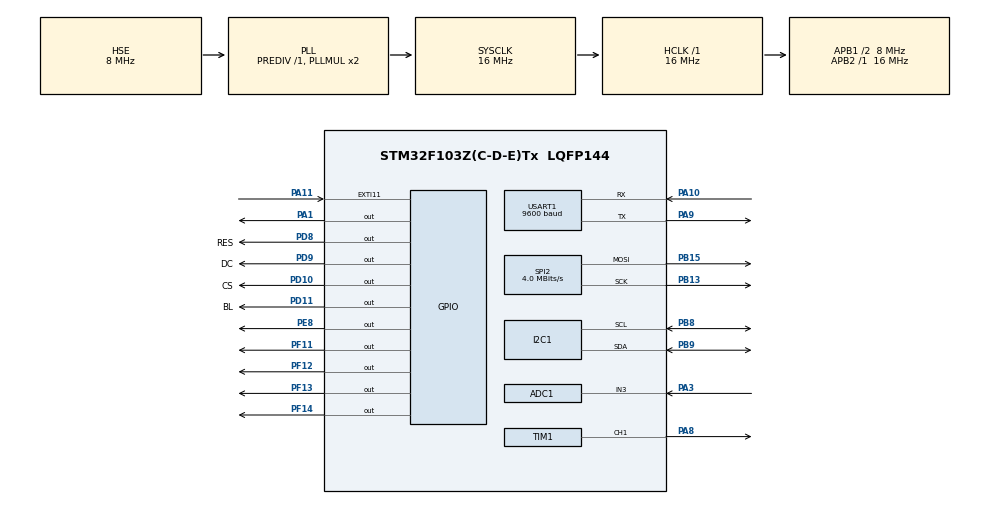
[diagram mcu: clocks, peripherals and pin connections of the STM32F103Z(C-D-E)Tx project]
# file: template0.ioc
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ADC1.Channel-1\#ChannelRegularConversion=ADC_CHANNEL_3
ADC1.NbrOfConversion=1
ADC1.NbrOfConversionFlag=1
ADC1.Rank-1\#ChannelRegularConversion=1
ADC1.SamplingTime-1\#ChannelRegularConversion=ADC_SAMPLETIME_71CYCLES_5
ADC1.master=1
FREERTOS.Tasks01=defaultTask,24,128,StartDefaultTask,Default,NULL,Dynamic,NULL,NULL
Mcu.Family=STM32F1
Mcu.Name=STM32F103Z(C-D-E)Tx
Mcu.Package=LQFP144
NVIC.EXTI15_10_IRQn=true\:5\:0\:true\:false\:true\:true\:true\:true\:true
NVIC.PriorityGroup=NVIC_PRIORITYGROUP_4
NVIC.TIM1_BRK_IRQn=true\:5\:0\:false\:false\:true\:true\:true\:true\:true
NVIC.TIM1_CC_IRQn=true\:5\:0\:false\:false\:true\:true\:true\:true\:true
NVIC.TIM1_TRG_COM_IRQn=true\:5\:0\:false\:false\:true\:true\:true\:true\:true
NVIC.TIM1_UP_IRQn=true\:5\:0\:false\:false\:true\:true\:true\:true\:true
NVIC.TIM4_IRQn=true\:0\:0\:true\:false\:true\:false\:false\:true\:true
NVIC.TimeBase=TIM4_IRQn
NVIC.TimeBaseIP=TIM4
NVIC.USART1_IRQn=true\:5\:0\:false\:false\:true\:true\:true\:true\:true
OSC_IN.Mode=HSE-External-Oscillator
OSC_IN.Signal=RCC_OSC_IN
OSC_OUT.Mode=HSE-External-Oscillator
OSC_OUT.Signal=RCC_OSC_OUT
PA1.GPIO_ModeDefaultOutputPP=GPIO_MODE_OUTPUT_OD
PA1.GPIO_PuPd=GPIO_PULLUP
PA1.Signal=GPIO_Output
PA10.Mode=Asynchronous
PA10.Signal=USART1_RX
PA11.GPIO_ModeDefaultEXTI=GPIO_MODE_IT_RISING_FALLING
PA11.GPIO_PuPd=GPIO_PULLUP
PA11.Signal=GPXTI11
PA13.Mode=Serial_Wire
PA13.Signal=SYS_JTMS-SWDIO
PA14.Mode=Serial_Wire
PA14.Signal=SYS_JTCK-SWCLK
PA3.Signal=ADCx_IN3
PA8.Signal=S_TIM1_CH1
PA9.Mode=Asynchronous
PA9.Signal=USART1_TX
PB13.Mode=TX_Only_Simplex_Unidirect_Master
PB13.Signal=SPI2_SCK
PB15.Mode=TX_Only_Simplex_Unidirect_Master
PB15.Signal=SPI2_MOSI
PB8.Mode=I2C
PB8.Signal=I2C1_SCL
PB9.Mode=I2C
PB9.Signal=I2C1_SDA
PD10.GPIO_Label=CS
PD10.GPIO_Speed=GPIO_SPEED_FREQ_HIGH
PD10.Signal=GPIO_Output
PD11.GPIO_Label=BL
PD11.GPIO_Speed=GPIO_SPEED_FREQ_HIGH
PD11.Signal=GPIO_Output
PD8.GPIO_Label=RES
PD8.GPIO_Speed=GPIO_SPEED_FREQ_HIGH
PD8.Signal=GPIO_Output
PD9.GPIO_Label=DC
PD9.GPIO_Speed=GPIO_SPEED_FREQ_HIGH
PD9.Signal=GPIO_Output
PE8.Signal=GPIO_Output
PF11.Signal=GPIO_Output
PF12.Signal=GPIO_Output
PF13.Signal=GPIO_Output
PF14.Signal=GPIO_Output
ProjectManager.HeapSize=0x200
ProjectManager.StackSize=0x400
ProjectManager.TargetToolchain=MDK-ARM V5.32
RCC.AHBFreq_Value=16000000
RCC.APB1CLKDivider=RCC_HCLK_DIV2
RCC.APB1Freq_Value=8000000
RCC.APB1TimFreq_Value=16000000
RCC.APB2Freq_Value=16000000
RCC.APB2TimFreq_Value=16000000
RCC.HCLKFreq_Value=16000000
RCC.PLLSourceVirtual=RCC_PLLSOURCE_HSE
RCC.SYSCLKFreq_VALUE=16000000
RCC.SYSCLKSource=RCC_SYSCLKSOURCE_PLLCLK
RCC.USBFreq_Value=16000000
SH.ADCx_IN3.0=ADC1_IN3,IN3
SH.S_TIM1_CH1.0=TIM1_CH1,PWM Generation1 CH1
SPI2.CalculateBaudRate=4.0 MBits/s
SPI2.Direction=SPI_DIRECTION_2LINES
SPI2.Mode=SPI_MODE_MASTER
SPI2.VirtualType=VM_MASTER
TIM1.Channel-PWM\ Generation1\ CH1=TIM_CHANNEL_1
TIM1.Period=9999
TIM1.Prescaler=71
USART1.BaudRate=9600
USART1.VirtualMode=VM_ASYNC
VP_FREERTOS_VS_CMSIS_V2.Mode=CMSIS_V2
VP_SYS_VS_tim4.Mode=TIM4
board=custom

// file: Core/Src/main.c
/* USER CODE BEGIN Header */
/**
  ******************************************************************************
  * @file           : main.c
  * @brief          : Main program body
  ******************************************************************************
  * @attention
  *
  * Copyright (c) 2024 STMicroelectronics.
  * All rights reserved.
  *
  * This software is licensed under terms that can be found in the LICENSE file
  * in the root directory of this software component.
  * If no LICENSE file comes with this software, it is provided AS-IS.
  *
  ******************************************************************************
  */
/* USER CODE END Header */
#include "main.h"
#include "cmsis_os.h"
#include "adc.h"
#include "i2c.h"
#include "spi.h"
#include "tim.h"
#include "usart.h"
#include "gpio.h"

void SystemClock_Config(void);
void MX_FREERTOS_Init(void);

int main(void)
{

  /* MCU Configuration--------------------------------------------------------*/

  /* Reset of all peripherals, Initializes the Flash interface and the Systick. */
  HAL_Init();

  /* Configure the system clock */
  SystemClock_Config();

  /* Initialize all configured peripherals */
  MX_GPIO_Init();
  MX_I2C1_Init();
  MX_TIM1_Init();
  MX_USART1_UART_Init();
  MX_ADC1_Init();
  MX_SPI2_Init();
  /* USER CODE BEGIN 2 */
//  HAL_TIM_Base_Start_IT(&htim1);//定时器更新产生中断
//  HAL_TIM_IC_Start_IT(&htim1,TIM_CHANNEL_1);
  /* USER CODE END 2 */

  /* Init scheduler */
  osKernelInitialize();

  /* Call init function for freertos objects (in cmsis_os2.c) */
  MX_FREERTOS_Init();

  /* Start scheduler */
  osKernelStart();

  /* We should never get here as control is now taken by the scheduler */

  /* Infinite loop */
  while (1)
  {

  }
}

void SystemClock_Config(void)
{
  RCC_OscInitTypeDef RCC_OscInitStruct = {0};
  RCC_ClkInitTypeDef RCC_ClkInitStruct = {0};
  RCC_PeriphCLKInitTypeDef PeriphClkInit = {0};

  /** Initializes the RCC Oscillators according to the specified parameters
  * in the RCC_OscInitTypeDef structure.
  */
  RCC_OscInitStruct.OscillatorType = RCC_OSCILLATORTYPE_HSE;
  RCC_OscInitStruct.HSEState = RCC_HSE_ON;
  RCC_OscInitStruct.HSEPredivValue = RCC_HSE_PREDIV_DIV1;
  RCC_OscInitStruct.HSIState = RCC_HSI_ON;
  RCC_OscInitStruct.PLL.PLLState = RCC_PLL_ON;
  RCC_OscInitStruct.PLL.PLLSource = RCC_PLLSOURCE_HSE;
  RCC_OscInitStruct.PLL.PLLMUL = RCC_PLL_MUL2;
  if (HAL_RCC_OscConfig(&RCC_OscInitStruct) != HAL_OK)
  {
    Error_Handler();
  }

  /** Initializes the CPU, AHB and APB buses clocks
  */
  RCC_ClkInitStruct.ClockType = RCC_CLOCKTYPE_HCLK|RCC_CLOCKTYPE_SYSCLK
                              |RCC_CLOCKTYPE_PCLK1|RCC_CLOCKTYPE_PCLK2;
  RCC_ClkInitStruct.SYSCLKSource = RCC_SYSCLKSOURCE_PLLCLK;
  RCC_ClkInitStruct.AHBCLKDivider = RCC_SYSCLK_DIV1;
  RCC_ClkInitStruct.APB1CLKDivider = RCC_HCLK_DIV2;
  RCC_ClkInitStruct.APB2CLKDivider = RCC_HCLK_DIV1;

  if (HAL_RCC_ClockConfig(&RCC_ClkInitStruct, FLASH_LATENCY_0) != HAL_OK)
  {
    Error_Handler();
  }
  PeriphClkInit.PeriphClockSelection = RCC_PERIPHCLK_ADC;
  PeriphClkInit.AdcClockSelection = RCC_ADCPCLK2_DIV2;
  if (HAL_RCCEx_PeriphCLKConfig(&PeriphClkInit) != HAL_OK)
  {
    Error_Handler();
  }
}

void HAL_TIM_PeriodElapsedCallback(TIM_HandleTypeDef *htim)
{
  if (htim->Instance == TIM4) {
    HAL_IncTick();
  }
}

void Error_Handler(void)
{
  __disable_irq();
  while (1)
  {
  }
}

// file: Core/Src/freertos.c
/* USER CODE BEGIN Header */
/**
  ******************************************************************************
  * File Name          : freertos.c
  * Description        : Code for freertos applications
  ******************************************************************************
  * @attention
  *
  * Copyright (c) 2024 STMicroelectronics.
  * All rights reserved.
  *
  * This software is licensed under terms that can be found in the LICENSE file
  * in the root directory of this software component.
  * If no LICENSE file comes with this software, it is provided AS-IS.
  *
  ******************************************************************************
  */
/* USER CODE END Header */

#include "FreeRTOS.h"
#include "task.h"
#include "main.h"
#include "cmsis_os.h"

/* USER CODE BEGIN Includes */
//------------freertos------------
#include "cmsis_os.h"
#include "FreeRTOS.h"                   // ARM.FreeRTOS::RTOS:Core
#include "task.h"                       // ARM.FreeRTOS::RTOS:Core
#include "event_groups.h"               // ARM.FreeRTOS::RTOS:Event Groups
#include "semphr.h"                     // ARM.FreeRTOS::RTOS:Core
//------------private(hardware)------------
#include "driver_timer.h"
#include "driver_lcd.h"
#include "driver_led.h"
#include "sg90.h"
#include "music.h"
#include "blue_tooth.h"
#include "driver_ir_receiver.h"
#include "driver_ir_sender.h"
#include "driver_passive_buzzer.h"
#include "driver_dht11.h"
#include "driver_light_sensor.h"
#include "spi_lcd_test.h"
#include "lcd_spi.h"
#include "lcd.h"
#include "u8g2_test.h"
#include "stm32_u8g2.h"
#include "gui.h"
//------------private(game)------------
#include "game1.h"
#include "english.h"
#include "resources.h"
#include "draw.h"
/* USER CODE END Includes */

/* USER CODE BEGIN Variables */
//---------------------------------------------
// ---------------- Variables ----------------
//extern uint8_t rx_buf[2];
//extern uint8_t Bluetooth_data;
//static StackType_t g_pucStackOfLightTask[128*4];
//static StaticTask_t g_TCBofLightTask;
//static TaskHandle_t LightTask;
//static StackType_t g_pucStackOfLightTask2[128*4];
//static StaticTask_t g_TCBofLightTask2;
//static TaskHandle_t LightTask2;
//---------------------------------------------
//// ---------------- global queues ----------------
//static QueueHandle_t key_queue;
//static QueueHandle_t big_data_queue;
//// ---------------- queue set----------------
//static QueueSetHandle_t queue_set_handle;
//	static QueueHandle_t queue_set_1queue_handle;
//	static QueueHandle_t queue_set_2semphore_handle;
//// ---------------- semphore ----------------
//static QueueHandle_t semphore_handle;
//static QueueHandle_t count_semphore_handle;
//static QueueHandle_t mutex_semphore_handle;
//  //---------------- eventgroups init --------------------
//static EventGroupHandle_t eventgroup_handle;
//---------------------------------------------
//---------------------------------------------
//---------------------------------------------

/* USER CODE END Variables */
/* Definitions for defaultTask */
osThreadId_t defaultTaskHandle;
const osThreadAttr_t defaultTask_attributes = {
  .name = "defaultTask",
  .stack_size = 128 * 4,
  .priority = (osPriority_t) osPriorityNormal,
};

/* USER CODE BEGIN FunctionPrototypes */
// ---------------- task functions ----------------
void start_task_1(void *params);
void start_task_2(void *params);
void start_task_3(void *params);
void general_task(void *params);
void DHT11_task(void *params);
void LightSensor_task(void *params);

//// ---------------- LCD test function ----------------
//// same function for different tasks -experiment
//struct TaskInfo {
//	uint8_t x;
//	uint8_t y;
//	char name[16];
//};
//// ----------------global_params_for_tasks----------------
//static struct TaskInfo OledTask1 = {0,0,"SHIT_1"};
//static struct TaskInfo OledTask2 = {0,3,"SHIT_2"};
//static struct TaskInfo OledTask3 = {0,6,"SHIT_3"};
//static int g_LCD_CAN_USE = 1;
//void LCD_Print_Task(void *params)
//{
//	int len;
//	uint32_t cnt = 0;
//	struct TaskInfo *printInfo = params;
//	while(1)
//	{
//		if (g_LCD_CAN_USE)
//		{
//		g_LCD_CAN_USE = 0;
//		len = LCD_PrintString(printInfo->x,printInfo->y,printInfo->name);
//		len += LCD_PrintString(len,printInfo->y,":");
//		LCD_PrintSignedVal(len,printInfo->y,cnt++);
//		g_LCD_CAN_USE = 1;
//		}
//		mdelay(500);
//	}
//}

/* USER CODE END FunctionPrototypes */

void StartDefaultTask(void *argument);

void MX_FREERTOS_Init(void); /* (MISRA C 2004 rule 8.1) */

void MX_FREERTOS_Init(void) {
  /* USER CODE BEGIN Init */
	TaskHandle_t xSoundTaskhandle;
	TaskHandle_t start_task_1_handle;
	TaskHandle_t start_task_2_handle;
	TaskHandle_t start_task_3_handle;
	TaskHandle_t general_task_handle;
	LCD_Init();
	LCD_Clear();
	IRReceiver_Init();
	LCD_PrintString(0,0,"OK");
	spi_LCD_Init();

  /* USER CODE END Init */

  /* USER CODE BEGIN RTOS_QUEUES */
  /* add queues, ... */
  //---------------------------------------------
  //---------------- queue ---------------------
//  #define key_queue_length 2
//  #define key_queue_item_size sizeof(uint8_t)
//  key_queue = xQueueCreate(key_queue_length,key_queue_item_size);
//
//  #define big_data_queue_length 1
//  #define big_data_queue_item_size sizeof(char*)
//  big_data_queue = xQueueCreate(10,10);
  //---------------- queue set ---------------------
//  queue_set_handle = xQueueCreateSet(2);
//	queue_set_1queue_handle = xQueueCreate(1,sizeof(uint8_t));
//	queue_set_2semphore_handle = xSemaphoreCreateBinary();
//  xQueueAddToSet(queue_set_1queue_handle,queue_set_handle);
//  xQueueAddToSet(queue_set_2semphore_handle,queue_set_handle);
  //---------------- semphores --------------------
//  semphore_handle = xSemaphoreCreateBinary();
//  count_semphore_handle = xSemaphoreCreateCounting(100,0);
//  mutex_semphore_handle = xSemaphoreCreateMutex();
  //---------------- eventgroups init --------------------
//  eventgroup_handle = xEventGroupCreate();
  /* USER CODE END RTOS_QUEUES */

  /* Create the thread(s) */
  /* creation of defaultTask */
  defaultTaskHandle = osThreadNew(StartDefaultTask, NULL, &defaultTask_attributes);

  /* USER CODE BEGIN RTOS_THREADS */
  /* add threads, ... */

 // --------------------tasks--------------------

//   xTaskCreate(LightSensor_task, "test_Task", 128, NULL, osPriorityNormal, &general_task_handle);

// ----------------------------------------------------------------------------------------------
  /*------1-1 music or lcd------*/
//  xTaskCreate(game1_task, "GameTask", 128, NULL, osPriorityNormal, NULL);
//  xTaskCreate(play_music,"music",128,NULL,osPriorityAboveNormal,&xSoundTaskhandle);
//  xTaskCreate(LCD_Print_Test,"std",128,NULL,osPriorityAboveNormal,&xSoundTaskhandle);
  /*------1-2 LED F11------*/
//  LightTask = xTaskCreateStatic(Led_Test,"led",128,NULL,osPriorityAboveNormal,g_pucStackOfLightTask,&g_TCBofLightTask);
  /*------1-3 LED F12------*/
//  LightTask2 = xTaskCreateStatic(Led_Test_2,"led2",128,NULL,osPriorityAboveNormal,g_pucStackOfLightTask2,&g_TCBofLightTask2);
  /*------1-4 create different tasks using same function------*/
//	xTaskCreate(LCD_Print_Task,"oled_task3",128,&OledTask1,osPriorityAboveNormal,NULL);
//	xTaskCreate(LCD_Print_Task,"oled_task2",128,&OledTask2,osPriorityAboveNormal,NULL);
//	xTaskCreate(LCD_Print_Task,"oled_task3",128,&OledTask3,osPriorityAboveNormal,NULL);
// ----------------------------------------------------------------------------------------------

  /* USER CODE END RTOS_THREADS */

}

void StartDefaultTask(void *argument)
{
  /* USER CODE BEGIN StartDefaultTask */
  /* Infinite loop */

//	LightSensor_Test();

	while(1)
	{
	LCD_Fill(0,0,lcddev.width,lcddev.height,WHITE);
//	Show_Str(0,25,BLUE,YELLOW,"BL Test",16,1);
	Pic_test();
	vTaskDelay(1000);
	}

//  -------------------------------------------------------------------------
//  ----------------------demo3     DHT11      test--------------------------
//  -------------------------------------------------------------------------

//	int hum, temp;
//    int len;
//	char display_buf[12];
//	u8g2_t u8g2;
//
//	DHT11_Init();
//	u8g2Init(&u8g2);
//
//	while (1)
//	{
//		if (DHT11_Read(&hum, &temp) !=0 )
//		{
//			DHT11_Init();
//		}
//		else
//		{
//	   u8g2_DrawFrame(&u8g2,0,0,5,10);
//	   u8g2_DrawFrame(&u8g2,0,20,5,10);
//
//	   u8g2_SendBuffer(&u8g2);
//	   u8g2_SetFont(&u8g2,u8g2_font_DigitalDiscoThin_tf);
//	   sprintf((char*)display_buf,"temp:      %d",temp);
//	   u8g2_DrawStr(&u8g2,10,10,display_buf);
//
//	   u8g2_SetFont(&u8g2,u8g2_font_DigitalDiscoThin_tf);
//	   sprintf((char*)display_buf,"humidity:  %d%c",hum ,'%');
//	   u8g2_DrawStr(&u8g2,10,30,display_buf);
//	   u8g2_SendBuffer(&u8g2);

//		}
//		mdelay(2000);  /* 读取周期是2S, 不能读太频繁 */
//	}

//  -------------------------------------------------------------------------
//  ----------------------demo2-----------u8g2 test--------------------------
//  -------------------------------------------------------------------------
//    u8g2_t u8g2; // a structure which will contain all the data for one display
//    u8g2Init(&u8g2);
//	while(1)
//	{
//	   u8g2_SendBuffer(&u8g2);
////	   u8g2_DrawBox(&u8g2,0,0,20,20);
//	   u8g2_DrawCircle(&u8g2,30,30,10,0x15);
////	   u8g2_DrawBox(&u8g2,20,20,20,20);
//	   u8g2_SendBuffer(&u8g2);
//	   u8g2_DrawFrame(&u8g2,10,40,20,20);
//	   u8g2_SendBuffer(&u8g2);
//	   u8g2_SetFont(&u8g2,u8g2_font_DigitalDiscoThin_tf);
//	   u8g2_DrawStr(&u8g2,30,10,"Hello World");
//	   u8g2_SendBuffer(&u8g2);
//	   HAL_Delay(1000);
//	}

//  -------------------------------------------------------------------------
//  ----------------------demo 01用红外遥控控制音乐--------------------------
//  -------------------------------------------------------------------------
//  uint8_t dev, data;
//  int len;
//	int bRunning;
//
//	TaskHandle_t xSoundTaskHandle = NULL;
//	BaseType_t ret;
//
//	LCD_Init();
//	LCD_Clear();

//
//    IRReceiver_Init();
//	LCD_PrintString(0, 0, "Waiting control");

//    while (1)
//    {
//        /* 读取红外遥控器 */
//		if (0 == IRReceiver_Read(&dev, &data))
//		{
//			if (data == 0xa8) /* play */
//			{
//				/* 创建播放音乐的任务 */
//			  if (xSoundTaskHandle == NULL)
//			  {
//					LCD_ClearLine(0, 0);
//					LCD_PrintString(0, 0, "Create Task");
//					ret = xTaskCreate(play_music, "SoundTask", 128, NULL, osPriorityNormal+1, &xSoundTaskHandle);
//					bRunning = 1;
//			  }
//			  else
//			  {
//				  /* 要么suspend要么resume */
//				  if (bRunning)
//				  {
//					  LCD_ClearLine(0, 0);
//					  LCD_PrintString(0, 0, "Suspend Task");
//					  vTaskSuspend(xSoundTaskHandle);
//					  PassiveBuzzer_Control(0); /* 停止蜂鸣器 */
//					  bRunning = 0;
//				  }
//				  else
//				  {
//					  LCD_ClearLine(0, 0);
//					  LCD_PrintString(0, 0, "Resume Task");
//					  vTaskResume(xSoundTaskHandle);
//					  bRunning = 1;
//				  }
//			  }
//			}
//
//			else if (data == 0xa2) /* power */
//			{
//				/* 删除播放音乐的任务 */
//				if (xSoundTaskHandle != NULL)
//				{
//					LCD_ClearLine(0, 0);
//					LCD_PrintString(0, 0, "Delete Task");
//					vTaskDelete(xSoundTaskHandle);
//					PassiveBuzzer_Control(0); /* 停止蜂鸣器 */
//					xSoundTaskHandle = NULL;
//				}
//			}
//		}
//    }
//  -------------------------------------------------------------------------
//  -------------------------------------------------------------------------
  /* USER CODE END StartDefaultTask */
}

/* USER CODE BEGIN Application */

//-------------------------------------------------------------------------
//----------------------------队列实验-------------------------------------
//-------------------------------------------------------------------------
//void start_task_1(void *params)
//{
//	//just for test
//	char gigi[100] = {"heeloooolleoolelelooleloooolellooo"};
//	char * buf;
//	buf = &gigi[0];
//	BaseType_t err2 = 0;
//
//	BaseType_t err = 0;
//	uint8_t dev, data;
//	uint8_t count = 0;
//	int len;
//    while (1)
//    {
//		if (!IRReceiver_Read(&dev, &data))
//		{
//			// transfer the key data
//			if (data == 0x4a)
//			{
//				LCD_ClearLine(0,0);
//				err = xQueueSend(key_queue,&data,portMAX_DELAY);
//				if (err != pdTRUE)
//				{
//				   LCD_PrintString(0,0,"GG");
//				}
//				else
//				{
//				   LCD_PrintHex(6,0,++count,1);
//				}
//			}
//			// transfer the address of bigdata
////			if (data == 0x52)
////			{
////				LCD_ClearLine(0,2);
////				err2 = xQueueSend(big_data_queue,&buf,portMAX_DELAY);
////				if (err2 != pdTRUE)
////				{
////				   LCD_PrintString(0,2,"GG");
////				}
////				LCD_PutChar(6,2,*buf);
////			}
//		}
//		vTaskDelay(10);
//	}
//}

//void start_task_2(void *params)
//{
//
//	uint8_t key_num = 0;
//	BaseType_t err = 0;
//	while(1)
//	{
//		//out queue
//		err = xQueueReceive(key_queue,&key_num,portMAX_DELAY);
//		if (err != pdTRUE)
//		{
//		    LCD_PrintString(0,3,"GG");
//		}
//		else
//		{
//			LCD_PrintHex(0,3,key_num,1);
//		}
//
//	}
//
//}
//-------------------------------------------------------------------------
//-------------------------------------------------------------------------

//-------------------------------------------------------------------------
//----------------------------二值信号量实验--------------------------------
//-------------------------------------------------------------------------

//void start_task_1(void *params)
//{
//	BaseType_t err = 0;
//	uint8_t dev, data;
//	int len;
//	while(1)
//	{
//		if (!IRReceiver_Read(&dev, &data))
//		{
//			// transfer the key data
//			if (data == 0x4a)
//			{
//				LCD_ClearLine(0,0);
//				if (semphore_handle!= NULL)
//				{
//					err = xSemaphoreGive(semphore_handle);
//					if (err == pdPASS)
//					{
//					LCD_PrintString(0,0,"win");
//					}
//					else
//					{
//					LCD_PrintString(0,0,"lose");
//					}
//				}
//
//			}
//		}
//		vTaskDelay(10);
//	}
//
//}

//void start_task_2(void *params)
//{
//	BaseType_t err = 0;
//	int len = 0;
//	while(1)
//	{
//		xSemaphoreTake(semphore_handle,1000);
//		if (err == pdTRUE)
//		{
//			LCD_PrintString(0,2,"success");
//		}
//		else
//		{
//			LCD_PrintString(8,2,"timeout");
//			LCD_PrintHex(0,4,++len,10);
//		}
//	}
//}

//-------------------------------------------------------------------------
//-------------------------------------------------------------------------

//-------------------------------------------------------------------------
//----------------------------计数型信号量实验------------------------------
//-------------------------------------------------------------------------

//void start_task_1(void *params)
//{
//	BaseType_t err = 0;
//	uint8_t dev, data;
//	int len;
//	while(1)
//	{
//		if (!IRReceiver_Read(&dev, &data))
//		{
//			// transfer the key data
//			if (data == 0x4a)
//			{
//				LCD_ClearLine(0,0);
//				if (count_semphore_handle!= NULL)
//				{
//					err = xSemaphoreGive(count_semphore_handle);
//					if (err == pdPASS)
//					{
//					LCD_PrintString(0,0,"win");
//					}
//					else
//					{
//					LCD_PrintString(0,0,"lose");
//					}
//				}
//
//			}
//		}
//		vTaskDelay(10);
//	}
//
//}

//void start_task_2(void *params)
//{
//	BaseType_t err = 0;
//	int len = 0;
//	while(1)
//	{
//		err = xSemaphoreTake(count_semphore_handle,portMAX_DELAY);
//		vTaskDelay(1000);
//		if (err == pdTRUE)
//		{
//			LCD_PrintString(0,2,"OK");
//			LCD_PrintHex(4,2,uxSemaphoreGetCount(count_semphore_handle),10);
//		}
//		else
//		{
//			LCD_PrintString(0,2,"ERROR");
//		}
//	}
//}
//-------------------------------------------------------------------------
//-------------------------------------------------------------------------

//-------------------------------------------------------------------------
//----------------------------互斥信号量实验-------------------------------
//-------------------------------------------------------------------------
//void start_task_1(void *params)
//{
//	BaseType_t err = 0;
//	uint8_t dev, data;
//	int len;
//	while(1)
//	{
//		LCD_PrintString(0,0,"low_getting");
//		xSemaphoreTake(mutex_semphore_handle,portMAX_DELAY);
//		LCD_ClearLine(0,0);
//		LCD_PrintString(0,0,"low_running");
//		mdelay(3000);
//		LCD_ClearLine(0,0);
//		LCD_PrintString(0,0,"low_emitting");
//		vTaskDelay(1000);
//	}
//
//}

//void start_task_2(void *params)
//{
//	while(1)
//	{
//		LCD_PrintString(0,2,"middle running");
//		vTaskDelay(1000);
//	}
//}

//void start_task_3(void *params)
//{
//	while(1)
//	{
//		LCD_PrintString(0,4,"high_getting");
//		xSemaphoreTake(mutex_semphore_handle,portMAX_DELAY);
//		LCD_ClearLine(0,0);
//		LCD_PrintString(0,4,"high_running");
//		mdelay(3000);
//		LCD_ClearLine(0,0);
//		LCD_PrintString(0,4,"high_emitting");
//		vTaskDelay(1000);
//	}
//}

//-------------------------------------------------------------------------
//----------------------------队列集实验-----------------------------------
//-------------------------------------------------------------------------

//void start_task_1(void *params)
//{
//	BaseType_t err = 0;
//	uint8_t dev, data;
//	int len;
//	while(1)
//	{
//		if (!IRReceiver_Read(&dev, &data))
//		{
//			// transfer the key data
//			if (data == 0x4a)
//			{
//				xQueueSend(queue_set_1queue_handle,&data,portMAX_DELAY);
//			}
//			else if (data == 0x52)
//			{
//				xSemaphoreGive(queue_set_2semphore_handle);
//			}
//		}
//		vTaskDelay(10);
//	}
//}

//void start_task_2(void *params)
//{
//	QueueSetMemberHandle_t member_handle;
//	uint8_t key;
//	while(1)
//	{
//		member_handle = xQueueSelectFromSet(queue_set_handle,portMAX_DELAY);
//		if (member_handle == queue_set_1queue_handle)
//		{
//			xQueueReceive(member_handle,&key,portMAX_DELAY);
//			LCD_PrintString(0,0,"get key data");
//		}
//		else if (member_handle == queue_set_2semphore_handle)
//		{
//			xSemaphoreTake(member_handle,portMAX_DELAY);
//			LCD_PrintString(0,2,"get Semaphore");
//		}
//	}
//}

void general_task(void *params)
{
	BaseType_t err = 0;
	uint8_t dev, data;
	int len;
	TaskHandle_t start_task_1_handle;
	while(1)
	{
		if (!IRReceiver_Read(&dev, &data))
		{
			// transfer the key data
			if (data == 0xe2 )
			{

			}

		}
		vTaskDelay(10);
	}

}

//外设：无源蜂鸣器播放音乐。
void start_task_1(void *params)
{
    uint8_t dev, data;
    int len;
	int bRunning;
	TaskHandle_t xSoundTaskHandle = NULL;
	BaseType_t ret;
	LCD_PrintString(0, 0, "Waiting control");
    while (1)
    {
        /* 读取红外遥控器 */
		if (0 == IRReceiver_Read(&dev, &data))
		{
			if (data == 0xa8) /* play */
			{
				/* 创建播放音乐的任务 */
			  if (xSoundTaskHandle == NULL)
			  {
					LCD_ClearLine(0, 0);
					LCD_PrintString(0, 0, "Create Task");
					ret = xTaskCreate(play_music, "SoundTask", 128, NULL, osPriorityNormal+1, &xSoundTaskHandle);
					bRunning = 1;
			  }
			  else
			  {
				  /* 要么suspend要么resume */
				  if (bRunning)
				  {
					  LCD_ClearLine(0, 0);
					  LCD_PrintString(0, 0, "Suspend Task");
					  vTaskSuspend(xSoundTaskHandle);
					  PassiveBuzzer_Control(0); /* 停止蜂鸣器 */
					  bRunning = 0;
				  }
				  else
				  {
					  LCD_ClearLine(0, 0);
					  LCD_PrintString(0, 0, "Resume Task");
					  vTaskResume(xSoundTaskHandle);
					  bRunning = 1;
				  }
			  }
			}

			else if (data == 0xb0) /* C */
			{
				/* 删除播放音乐的任务 */
				if (xSoundTaskHandle != NULL)
				{
					LCD_ClearLine(0, 0);
					LCD_PrintString(0, 0, "Delete Task");
					vTaskDelete(xSoundTaskHandle);
					PassiveBuzzer_Control(0); /* 停止蜂鸣器 */
					xSoundTaskHandle = NULL;
				}
			}
		}
	}
}

void start_task_2(void *params)
{
	while(1)
	{

	}

}

void start_task_3(void *params)
{
	while(1)
	{

	}
}
//---------------------------------------------------
//--------------------HARDWARE_TASKS-----------------
//---------------------------------------------------
// 001 DHT_Task(online when it is called by lobby)
void DHT11_task(void *params)
{
	int hum, temp;
    int len;
	char display_buf[12];
	u8g2_t u8g2;

	DHT11_Init();
	u8g2Init(&u8g2);

	while (1)
	{
		if (DHT11_Read(&hum, &temp) !=0 )
		{
			DHT11_Init();
		}
		else
		{
//	   u8g2_DrawFrame(&u8g2,0,0,5,10);
//	   u8g2_DrawFrame(&u8g2,0,20,5,10);
//	   u8g2_SendBuffer(&u8g2);
//	   u8g2_SetFont(&u8g2,u8g2_font_DigitalDiscoThin_tf);
//	   sprintf((char*)display_buf,"temp:      %d",temp);
//	   u8g2_DrawStr(&u8g2,10,10,display_buf);
//	   u8g2_SetFont(&u8g2,u8g2_font_DigitalDiscoThin_tf);
//	   sprintf((char*)display_buf,"humidity:  %d%c",hum ,'%');
//	   u8g2_DrawStr(&u8g2,10,30,display_buf);
//	   u8g2_SendBuffer(&u8g2);
		}
		mdelay(2000);  /* 读取周期是2S, 不能读太频繁 */
	}
}

void LightSensor_task(void *params)
{

	LightSensor_Test();

}

//---------------------------------------------------
//---------------------------------------------------
//---------------------------------------------------
/* USER CODE END Application */
